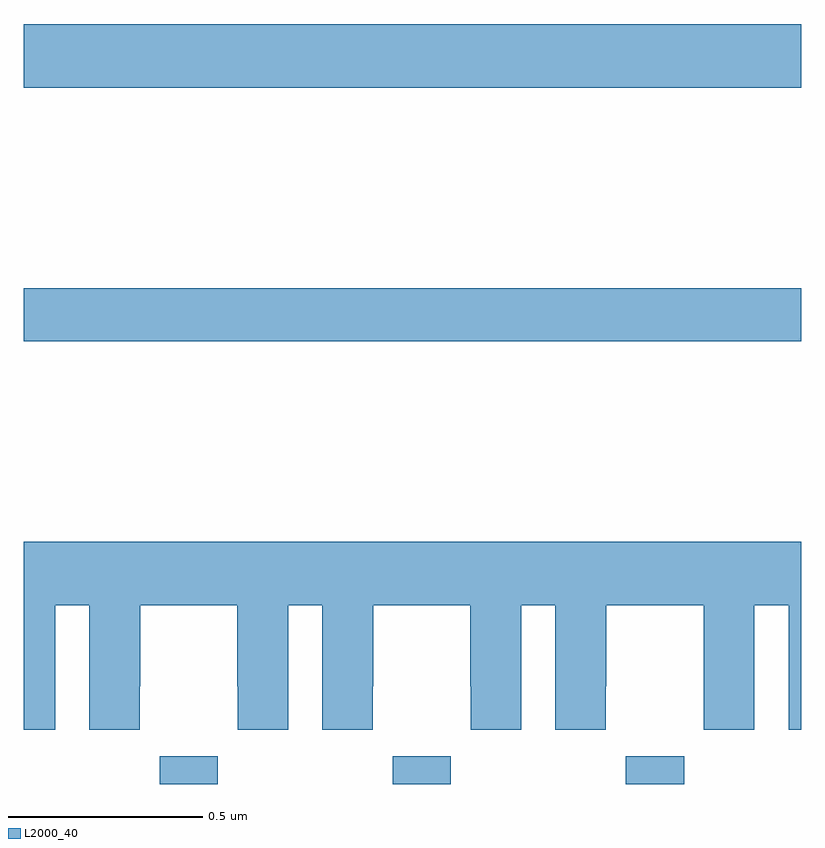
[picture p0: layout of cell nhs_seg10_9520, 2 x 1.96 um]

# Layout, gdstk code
import gdstk
lib = gdstk.Library(unit=1e-6, precision=1e-09)
def R(c, l, rs):  # rectangles x0, y0, x1, y1
    for r in rs: c.add(gdstk.rectangle(r[:2], r[2:], *l))
def A(c, l, x, y, w, h, nx, ny, dx, dy):  # array of equal rectangles
    R(c, l, [(x+i*dx, y+j*dy, x+i*dx+w, y+j*dy+h) for i in range(nx) for j in range(ny)])
def P(c, l, *ps):  # polygons
    for p in ps: c.add(gdstk.Polygon(p, *l))
L2000_40 = (2000, 40)

nhs_seg10_9520 = lib.new_cell('nhs_seg10_9520')
A(nhs_seg10_9520, L2000_40, 230.349, 1322.5, 0.15, 0.072, 3, 1, 0.6, 0)
R(nhs_seg10_9520, L2000_40, [(230,1323.64,232,1323.776), (230,1324.292,232,1324.456)])
P(nhs_seg10_9520, L2000_40, [(230,1322.64),(230.08,1322.64),(230.08,1322.96),(230.168,1322.96),(230.168,1322.64),(230.298,1322.64),(230.298,1322.752),(230.299,1322.752),(230.299,1322.96),(230.549,1322.96),(230.549,1322.752),(230.55,1322.752),(230.55,1322.64),(230.68,1322.64),(230.68,1322.96),(230.768,1322.96),(230.768,1322.64),(230.898,1322.64),(230.898,1322.752),(230.899,1322.752),(230.899,1322.96),(231.149,1322.96),(231.149,1322.752),(231.15,1322.752),(231.15,1322.64),(231.28,1322.64),(231.28,1322.96),(231.368,1322.96),(231.368,1322.64),(231.498,1322.64),(231.498,1322.752),(231.499,1322.752),(231.499,1322.96),(231.749,1322.96),(231.749,1322.752),(231.75,1322.752),(231.75,1322.64),(231.88,1322.64),(231.88,1322.96),(231.968,1322.96),(231.968,1322.64),(232,1322.64),(232,1323.124),(230,1323.124)])

lib.write_gds('nhs_seg10_9520.gds')
